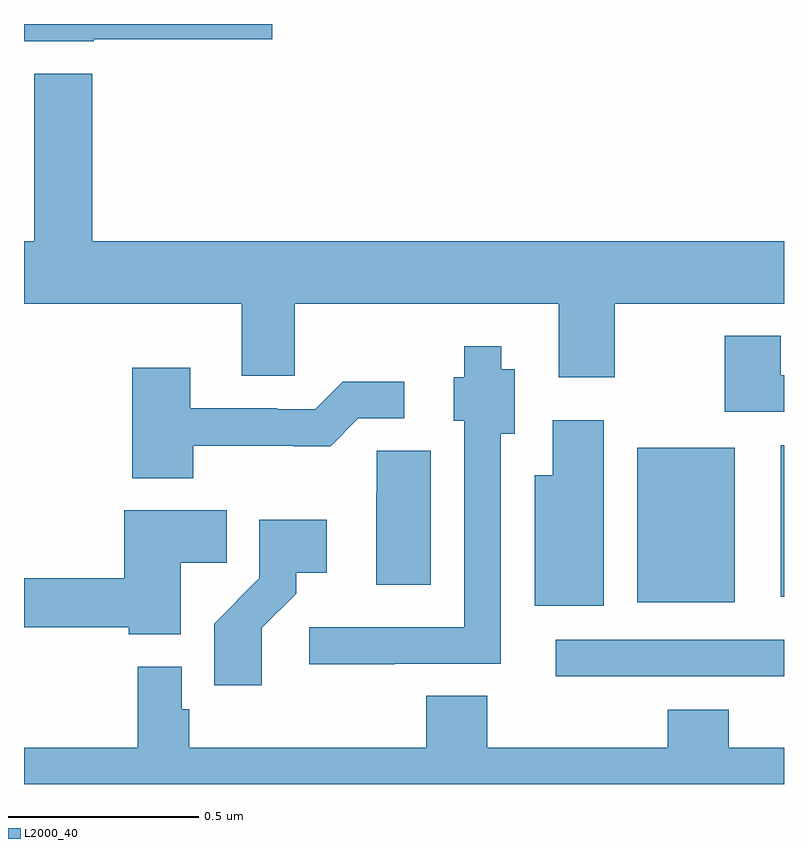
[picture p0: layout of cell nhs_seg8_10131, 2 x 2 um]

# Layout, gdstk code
import gdstk
lib = gdstk.Library(unit=1e-6, precision=1e-09)
def R(c, l, rs):  # rectangles x0, y0, x1, y1
    for r in rs: c.add(gdstk.rectangle(r[:2], r[2:], *l))
def P(c, l, *ps):  # polygons
    for p in ps: c.add(gdstk.Polygon(p, *l))
L2000_40 = (2000, 40)

nhs_seg8_10131 = lib.new_cell('nhs_seg8_10131')
R(nhs_seg8_10131, L2000_40, [(246.399,1118.184,247,1118.28), (246.614,1118.378,246.871,1118.785), (246.992,1118.393,247,1118.791)])
P(nhs_seg8_10131, L2000_40, [(245.184,1119.86),(245.653,1119.86),(245.653,1119.9),(245,1119.9),(245,1119.854),(245.184,1119.854)],
  [(246.555,1119.164),(247,1119.164),(247,1119.328),(245.18,1119.328),(245.18,1119.769),(245.027,1119.769),(245.027,1119.328),(245,1119.328),(245,1119.164),(245.573,1119.164),(245.573,1118.974),(245.712,1118.974),(245.712,1119.164),(246.407,1119.164),(246.407,1118.97),(246.555,1118.97)],
  [(247,1118.976),(246.991,1118.976),(246.991,1119.079),(246.844,1119.079),(246.844,1118.88),(247,1118.88)],
  [(245.975,1118.217),(246.255,1118.217),(246.255,1118.822),(246.292,1118.822),(246.292,1118.992),(246.256,1118.992),(246.256,1119.052),(246.158,1119.052),(246.158,1118.97),(246.131,1118.97),(246.131,1118.856),(246.159,1118.856),(246.159,1118.313),(245.751,1118.313),(245.751,1118.215),(245.975,1118.215)],
  [(245.445,1118.79),(245.708,1118.79),(245.708,1118.789),(245.807,1118.789),(245.88,1118.862),(246.001,1118.862),(246.001,1118.959),(245.839,1118.959),(245.766,1118.886),(245.666,1118.886),(245.666,1118.889),(245.437,1118.889),(245.437,1118.995),(245.285,1118.995),(245.285,1118.705),(245.445,1118.705)],
  [(246.526,1118.857),(246.392,1118.857),(246.392,1118.713),(246.344,1118.713),(246.344,1118.369),(246.526,1118.369)],
  [(246.07,1118.777),(245.928,1118.777),(245.928,1118.666),(245.927,1118.666),(245.927,1118.424),(246.07,1118.424)],
  [(245.413,1118.482),(245.534,1118.482),(245.534,1118.62),(245.264,1118.62),(245.264,1118.441),(245,1118.441),(245,1118.313),(245.276,1118.313),(245.276,1118.294),(245.413,1118.294)],
  [(245.626,1118.311),(245.716,1118.401),(245.716,1118.456),(245.797,1118.456),(245.797,1118.596),(245.619,1118.596),(245.619,1118.441),(245.5,1118.322),(245.5,1118.16),(245.626,1118.16)],
  [(247,1117.996),(246.854,1117.996),(246.854,1118.095),(246.694,1118.095),(246.694,1117.996),(246.219,1117.996),(246.219,1118.132),(246.059,1118.132),(246.059,1117.996),(245.435,1117.996),(245.435,1118.097),(245.415,1118.097),(245.415,1118.209),(245.299,1118.209),(245.299,1117.996),(245,1117.996),(245,1117.9),(247,1117.9)])

lib.write_gds('nhs_seg8_10131.gds')
